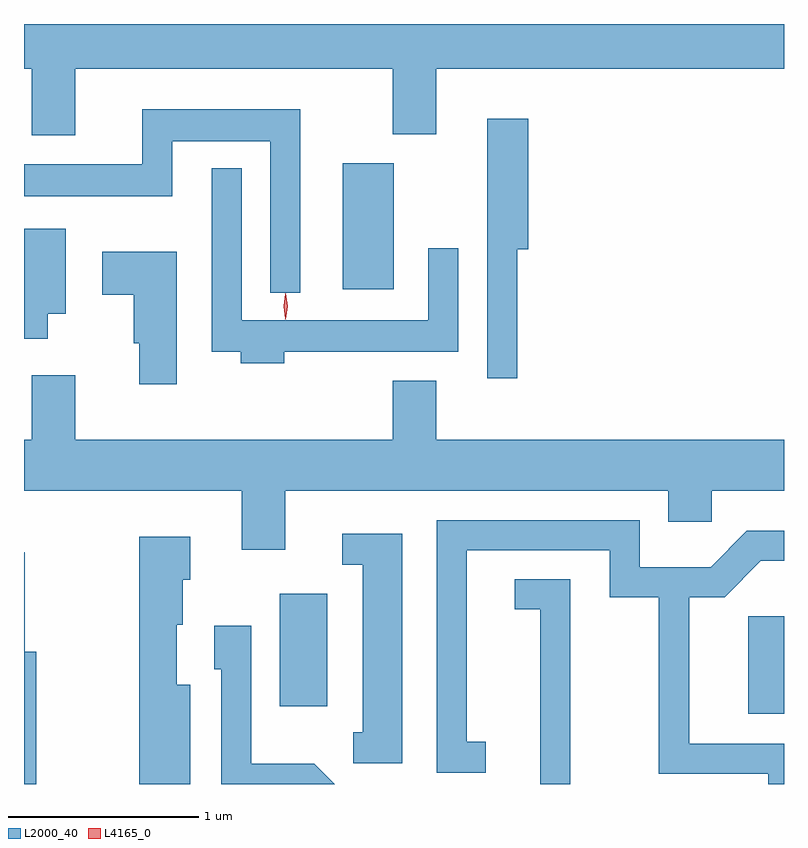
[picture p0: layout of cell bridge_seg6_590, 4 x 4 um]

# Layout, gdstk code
import gdstk
lib = gdstk.Library(unit=1e-6, precision=1e-09)
def R(c, l, rs):  # rectangles x0, y0, x1, y1
    for r in rs: c.add(gdstk.rectangle(r[:2], r[2:], *l))
def P(c, l, *ps):  # polygons
    for p in ps: c.add(gdstk.Polygon(p, *l))
L2000_40 = (2000, 40)
L4165_0 = (4165, 0)

bridge_seg6_590 = lib.new_cell('bridge_seg6_590')
R(bridge_seg6_590, L2000_40, [(547.061,1608.801,547.249,1609.314), (544.596,1608.841,544.844,1609.434), (544.926,1611.036,545.194,1611.699)])
P(bridge_seg6_590, L2000_40, [(543.519,1612.196),(545.191,1612.196),(545.191,1611.851),(545.419,1611.851),(545.419,1612.196),(547.249,1612.196),(547.249,1612.432),(543.249,1612.432),(543.249,1612.196),(543.291,1612.196),(543.291,1611.846),(543.519,1611.846)],
  [(544.704,1611.984),(543.871,1611.984),(543.871,1611.694),(543.249,1611.694),(543.249,1611.526),(544.029,1611.526),(544.029,1611.816),(544.546,1611.816),(544.546,1611.018),(544.704,1611.018)],
  [(545.844,1611.246),(545.904,1611.246),(545.904,1611.934),(545.686,1611.934),(545.686,1610.568),(545.844,1610.568)],
  [(544.619,1610.706),(545.534,1610.706),(545.534,1611.253),(545.376,1611.253),(545.376,1610.874),(544.394,1610.874),(544.394,1611.673),(544.236,1611.673),(544.236,1610.706),(544.391,1610.706),(544.391,1610.646),(544.619,1610.646)],
  [(543.374,1610.906),(543.469,1610.906),(543.469,1611.354),(543.249,1611.354),(543.249,1610.776),(543.374,1610.776)],
  [(544.054,1611.234),(543.661,1611.234),(543.661,1611.006),(543.826,1611.006),(543.826,1610.751),(543.856,1610.751),(543.856,1610.536),(544.054,1610.536)],
  [(544.624,1609.976),(546.641,1609.976),(546.641,1609.811),(546.869,1609.811),(546.869,1609.976),(547.249,1609.976),(547.249,1610.244),(545.419,1610.244),(545.419,1610.554),(545.191,1610.554),(545.191,1610.244),(543.519,1610.244),(543.519,1610.584),(543.291,1610.584),(543.291,1610.244),(543.249,1610.244),(543.249,1609.976),(544.396,1609.976),(544.396,1609.666),(544.624,1609.666)],
  [(547.249,1608.644),(546.749,1608.644),(546.749,1609.416),(546.937,1609.416),(547.127,1609.606),(547.249,1609.606),(547.249,1609.764),(547.054,1609.764),(546.864,1609.574),(546.489,1609.574),(546.489,1609.819),(545.421,1609.819),(545.421,1608.491),(545.678,1608.491),(545.678,1608.654),(545.579,1608.654),(545.579,1609.661),(546.331,1609.661),(546.331,1609.416),(546.591,1609.416),(546.591,1608.486),(547.166,1608.486),(547.166,1608.432),(547.249,1608.432)],
  [(545.239,1609.749),(544.923,1609.749),(544.923,1609.586),(545.031,1609.586),(545.031,1608.704),(544.983,1608.704),(544.983,1608.541),(545.239,1608.541)],
  [(544.124,1608.954),(544.054,1608.954),(544.054,1609.271),(544.084,1609.271),(544.084,1609.506),(544.124,1609.506),(544.124,1609.734),(543.856,1609.734),(543.856,1608.432),(544.124,1608.432)],
  [(543.314,1609.129),(543.254,1609.129),(543.254,1609.653),(543.249,1609.653),(543.249,1608.432),(543.314,1608.432)],
  [(546.124,1609.509),(545.833,1609.509),(545.833,1609.351),(545.966,1609.351),(545.966,1608.432),(546.124,1608.432)],
  [(544.777,1608.539),(544.444,1608.539),(544.444,1609.264),(544.251,1609.264),(544.251,1609.036),(544.286,1609.036),(544.286,1608.432),(544.884,1608.432)])
P(bridge_seg6_590, L4165_0, [(544.625,1610.879),(544.624,1610.88),(544.615,1610.946),(544.624,1611.012),(544.624,1611.013),(544.625,1611.012),(544.634,1610.946),(544.625,1610.88)],
  [(544.626,1610.877),(544.626,1610.877),(544.616,1610.947),(544.626,1611.016),(544.626,1611.016),(544.627,1611.016),(544.636,1610.947),(544.627,1610.877)])

lib.write_gds('bridge_seg6_590.gds')
